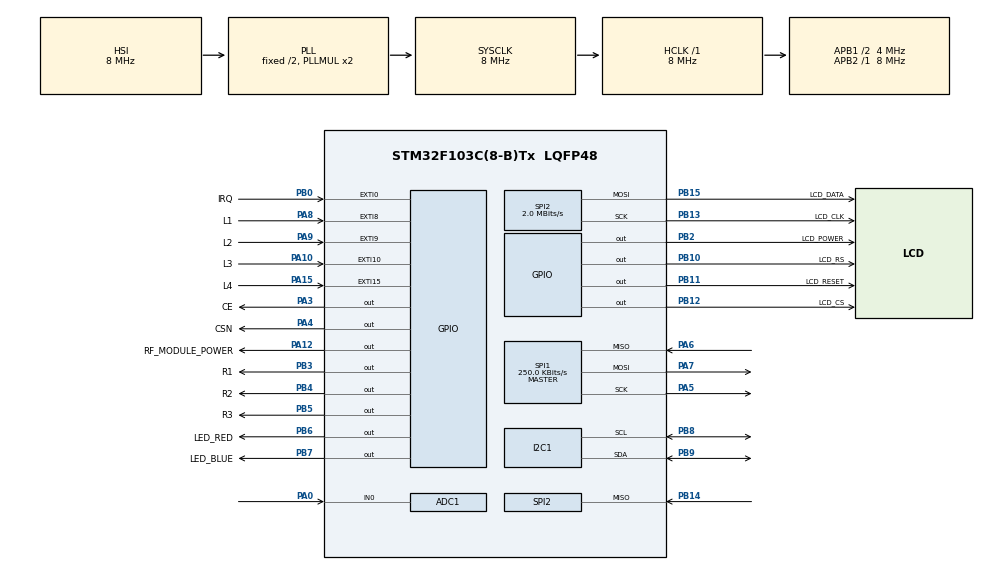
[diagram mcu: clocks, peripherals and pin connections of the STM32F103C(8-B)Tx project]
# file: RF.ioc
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ADC1.Channel-0\#ChannelRegularConversion=ADC_CHANNEL_0
ADC1.ContinuousConvMode=ENABLE
ADC1.ExternalTrigConv=ADC_SOFTWARE_START
ADC1.NbrOfConversionFlag=1
ADC1.Rank-0\#ChannelRegularConversion=1
ADC1.SamplingTime-0\#ChannelRegularConversion=ADC_SAMPLETIME_239CYCLES_5
ADC1.master=1
Mcu.Family=STM32F1
Mcu.Name=STM32F103C(8-B)Tx
Mcu.Package=LQFP48
NVIC.EXTI0_IRQn=true\:0\:0\:false\:false\:true
NVIC.EXTI15_10_IRQn=true\:1\:0\:true\:false\:true
NVIC.EXTI9_5_IRQn=true\:1\:0\:true\:false\:true
NVIC.PriorityGroup=NVIC_PRIORITYGROUP_4
NVIC.TIM1_UP_IRQn=true\:2\:0\:true\:false\:true
PA0-WKUP.Signal=ADCx_IN0
PA10.GPIO_Label=L3
PA10.GPIO_ModeDefaultEXTI=GPIO_MODE_IT_FALLING
PA10.GPIO_PuPd=GPIO_PULLUP
PA10.Signal=GPXTI10
PA12.GPIO_Label=RF_MODULE_POWER
PA12.Signal=GPIO_Output
PA13.Mode=Serial_Wire
PA13.Signal=SYS_JTMS-SWDIO
PA14.Mode=Serial_Wire
PA14.Signal=SYS_JTCK-SWCLK
PA15.GPIO_Label=L4
PA15.GPIO_ModeDefaultEXTI=GPIO_MODE_IT_FALLING
PA15.GPIO_PuPd=GPIO_PULLUP
PA15.Signal=GPXTI15
PA3.GPIO_Label=CE
PA3.Signal=GPIO_Output
PA4.GPIO_Label=CSN
PA4.Signal=GPIO_Output
PA5.Mode=Full_Duplex_Master
PA5.Signal=SPI1_SCK
PA6.Mode=Full_Duplex_Master
PA6.Signal=SPI1_MISO
PA7.Mode=Full_Duplex_Master
PA7.Signal=SPI1_MOSI
PA8.GPIO_Label=L1
PA8.GPIO_ModeDefaultEXTI=GPIO_MODE_IT_FALLING
PA8.GPIO_PuPd=GPIO_PULLUP
PA8.Signal=GPXTI8
PA9.GPIO_Label=L2
PA9.GPIO_ModeDefaultEXTI=GPIO_MODE_IT_FALLING
PA9.GPIO_PuPd=GPIO_PULLUP
PA9.Signal=GPXTI9
PB0.GPIO_Label=IRQ
PB0.GPIO_ModeDefaultEXTI=GPIO_MODE_IT_FALLING
PB0.GPIO_PuPd=GPIO_PULLUP
PB0.Signal=GPXTI0
PB10.GPIO_Label=LCD_RS
PB10.Signal=GPIO_Output
PB11.GPIO_Label=LCD_RESET
PB11.Signal=GPIO_Output
PB12.GPIO_Label=LCD_CS
PB12.Signal=GPIO_Output
PB13.GPIO_Label=LCD_CLK
PB13.Mode=Full_Duplex_Master
PB13.Signal=SPI2_SCK
PB14.Mode=Full_Duplex_Master
PB14.Signal=SPI2_MISO
PB15.GPIO_Label=LCD_DATA
PB15.Mode=Full_Duplex_Master
PB15.Signal=SPI2_MOSI
PB2.GPIO_Label=LCD_POWER
PB2.Signal=GPIO_Output
PB3.GPIO_Label=R1
PB3.GPIO_ModeDefaultOutputPP=GPIO_MODE_OUTPUT_OD
PB3.PinState=GPIO_PIN_RESET
PB3.Signal=GPIO_Output
PB4.GPIO_Label=R2
PB4.GPIO_ModeDefaultOutputPP=GPIO_MODE_OUTPUT_OD
PB4.Signal=GPIO_Output
PB5.GPIO_Label=R3
PB5.GPIO_ModeDefaultOutputPP=GPIO_MODE_OUTPUT_OD
PB5.Signal=GPIO_Output
PB6.GPIO_Label=LED_RED
PB6.Signal=GPIO_Output
PB7.GPIO_Label=LED_BLUE
PB7.Signal=GPIO_Output
PB8.Mode=I2C
PB8.Signal=I2C1_SCL
PB9.Mode=I2C
PB9.Signal=I2C1_SDA
PC14-OSC32_IN.Mode=LSE-External-Oscillator
PC14-OSC32_IN.Signal=RCC_OSC32_IN
PC15-OSC32_OUT.Mode=LSE-External-Oscillator
PC15-OSC32_OUT.Signal=RCC_OSC32_OUT
ProjectManager.HeapSize=0x2000
ProjectManager.StackSize=0x4000
ProjectManager.TargetToolchain=MDK-ARM V5
RCC.ADCPresc=RCC_ADCPCLK2_DIV6
RCC.AHBFreq_Value=8000000
RCC.APB1CLKDivider=RCC_HCLK_DIV2
RCC.APB1Freq_Value=4000000
RCC.APB1TimFreq_Value=8000000
RCC.APB2Freq_Value=8000000
RCC.APB2TimFreq_Value=8000000
RCC.HCLKFreq_Value=8000000
RCC.HSEDivPLL=RCC_HSE_PREDIV_DIV2
RCC.HSE_Timout=100
RCC.HSE_VALUE=16000000
RCC.LSE_Timout=5000
RCC.RTCClockSelection=RCC_RTCCLKSOURCE_LSE
RCC.SYSCLKFreq_VALUE=8000000
RCC.SYSCLKSource=RCC_SYSCLKSOURCE_PLLCLK
RCC.USBFreq_Value=5333333.333333333
RCC.USBPrescaler=RCC_USBCLKSOURCE_PLL_DIV1_5
SH.ADCx_IN0.0=ADC1_IN0,IN0
SPI1.BaudRatePrescaler=SPI_BAUDRATEPRESCALER_32
SPI1.CalculateBaudRate=250.0 KBits/s
SPI1.Mode=SPI_MODE_MASTER
SPI2.BaudRatePrescaler=SPI_BAUDRATEPRESCALER_2
SPI2.CalculateBaudRate=2.0 MBits/s
SPI2.Mode=SPI_MODE_MASTER
TIM1.ClockDivision=TIM_CLOCKDIVISION_DIV1
TIM1.Period=1000
TIM1.Prescaler=7999
TIM1.TIM_MasterOutputTrigger=TIM_TRGO_UPDATE
VP_RTC_VS_RTC_Activate.Mode=RTC_Enabled
VP_TIM1_VS_ClockSourceINT.Mode=Internal
board=RF

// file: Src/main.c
/**
  ******************************************************************************
  * File Name          : main.c
  * Description        : Main program body
  ******************************************************************************
  *
  * COPYRIGHT(c) 2017 STMicroelectronics
  *
  * Redistribution and use in source and binary forms, with or without modification,
  * are permitted provided that the following conditions are met:
  *   1. Redistributions of source code must retain the above copyright notice,
  *      this list of conditions and the following disclaimer.
  *   2. Redistributions in binary form must reproduce the above copyright notice,
  *      this list of conditions and the following disclaimer in the documentation
  *      and/or other materials provided with the distribution.
  *   3. Neither the name of STMicroelectronics nor the names of its contributors
  *      may be used to endorse or promote products derived from this software
  *      without specific prior written permission.
  *
  * THIS SOFTWARE IS PROVIDED BY THE COPYRIGHT HOLDERS AND CONTRIBUTORS "AS IS"
  * AND ANY EXPRESS OR IMPLIED WARRANTIES, INCLUDING, BUT NOT LIMITED TO, THE
  * IMPLIED WARRANTIES OF MERCHANTABILITY AND FITNESS FOR A PARTICULAR PURPOSE ARE
  * DISCLAIMED. IN NO EVENT SHALL THE COPYRIGHT HOLDER OR CONTRIBUTORS BE LIABLE
  * FOR ANY DIRECT, INDIRECT, INCIDENTAL, SPECIAL, EXEMPLARY, OR CONSEQUENTIAL
  * DAMAGES (INCLUDING, BUT NOT LIMITED TO, PROCUREMENT OF SUBSTITUTE GOODS OR
  * SERVICES; LOSS OF USE, DATA, OR PROFITS; OR BUSINESS INTERRUPTION) HOWEVER
  * CAUSED AND ON ANY THEORY OF LIABILITY, WHETHER IN CONTRACT, STRICT LIABILITY,
  * OR TORT (INCLUDING NEGLIGENCE OR OTHERWISE) ARISING IN ANY WAY OUT OF THE USE
  * OF THIS SOFTWARE, EVEN IF ADVISED OF THE POSSIBILITY OF SUCH DAMAGE.
  *
  ******************************************************************************
  */
#include "main.h"
#include "stm32f1xx_hal.h"

/* USER CODE BEGIN Includes */
#include "LPH91572.c"
#include "NRF24L01.c"
#include "Bat1.h"

/* USER CODE END Includes */

ADC_HandleTypeDef hadc1;

I2C_HandleTypeDef hi2c1;

RTC_HandleTypeDef hrtc;

SPI_HandleTypeDef hspi1;
SPI_HandleTypeDef hspi2;

TIM_HandleTypeDef htim1;

/* USER CODE BEGIN PV */
/* Private variables ---------------------------------------------------------*/
uint8_t data;
#define SysFreq 72
#define SYS_FCLK SysFreq
#define HEX2BCD(v)	((v) % 10 + (v) / 10 * 16)
#define BCD2HEX(v)	((v) % 16 + (v) / 16 * 10)
RTC_TimeTypeDef Time;

#define I2C1_DEVICE_ADDRESS 0x50
uint8_t eBuffer[1];

uint16_t InUmV=0;
#define InU_Koef 2.0*3.00*1.0206/4095.0
#define BatteryLevel_1 3000
#define BatteryLevel_2 3400
#define BatteryLevel_3 3700
#define BatteryLevel_4 3900

uint16_t FonColor = BLACK;
uint16_t TextColor = WHITE;

#define PowerDownTime 10
uint8_t PowerDownTimeCounter=0;
bool PowerDown=false;
bool PowerDownNow=false;

char options[8][17]=
{"  Back           ",
 "  Devices        ",
 "  Find devices   ",
 "  Keypad         ",
 "  Power          ",
 "                 ",
 "                 ",
 "                 "};

#define MenuCount 5
uint8_t SelectedMenuPos = 1;
#define MenuShiftY 25

volatile u8 PressedButton=0;

bool SecDotsShow=false;

struct DeviceStruct
{
	int size;
	char Name[28];
};
struct DevicesStruct
{
	u8 Count;
	struct DeviceStruct Device[15];
}Devices;
/* USER CODE END PV */

void SystemClock_Config(void);
void Error_Handler(void);
static void MX_GPIO_Init(void);
static void MX_SPI1_Init(void);
static void MX_ADC1_Init(void);
static void MX_I2C1_Init(void);
static void MX_RTC_Init(void);
static void MX_SPI2_Init(void);
static void MX_TIM1_Init(void);

/* USER CODE BEGIN PFP */
/* Private function prototypes -----------------------------------------------*/

void WriteTime(void);
void EEPROM_Read(uint16_t address,uint8_t *buffer,uint16_t size);
void EEPROM_Write(uint16_t address,uint8_t *buffer,uint16_t size);
void LcdWD(uint8_t  data);
uint8_t spi(uint8_t address);
void delay_us(uint16_t time_);
void soft_delay_ms(uint16_t ms);
uint16_t GetInUmV(void);
void WriteVoltage(void);
void Tick_1s(void);
void Power(void);
void PowerOff(void);
void PowerOn(void);
void InitAll(void);
void ShowSecDots(void);
/* USER CODE END PFP */

/* USER CODE BEGIN 0 */
void LcdWD(uint8_t  data)
{
  //LCD_CS_0
	while ((SPI2->SR &SPI_SR_TXE ) == RESET){}
  SPI2->DR=data;
	//while((SPI2->SR &SPI_SR_BSY)>0);
	//HAL_SPI_Transmit(&hspi2,&data,1,100);
	//LCD_CS_1
}
uint8_t spi(uint8_t address)
{
	HAL_SPI_TransmitReceive(&hspi1, &address, &data, sizeof(data), 0x1000);
	return data;
}
void delay_us(uint16_t time_)
{
	uint32_t time;
	time=time_;
	time*=SYS_FCLK;
	time/=3;
  while(time--);
}
void soft_delay_ms(uint16_t ms)
{
	while(ms--) delay_us(1000);
}
uint16_t GetInUmV(void)
{
	InUmV=(uint16_t)(((float)(hadc1.Instance->DR))*InU_Koef*1000.0);
	return InUmV;
}
void WriteVoltage(void)
{
	int volt,volt2;
  unsigned char volt_string[5];

	volt=GetInUmV();
	delay_us(300);
	volt+=GetInUmV();
	delay_us(300);
	volt+=GetInUmV();
	volt/=3;
	volt2=volt;
/*	if(volt<bad_volt)
	{

	}*/
	volt_string[0]=volt/1000+'0';
	volt%=1000;
	volt_string[1]='.';
	volt_string[2]=volt/100+'0';
	volt%=100;
	volt_string[3]=volt/10+'0';
	volt_string[4]=volt%10+'0';
	LCD_Puts((char*)volt_string,4,10,100,RED,FonColor);
	LCD_Write_Image_RLE_ColorBar(Bat1,sizeof(Bat1),Bat1_ColorBar,0,19,0,11);
	if(volt2<BatteryLevel_4)
	{
		LCD_FillRect(14,3,3,6,FonColor);
	}
	if(volt2<BatteryLevel_3)
	{
		LCD_FillRect(10,3,3,6,FonColor);
	}
	if(volt2<BatteryLevel_2)
	{
		LCD_FillRect(6,3,3,6,FonColor);
	}
	if(volt2<BatteryLevel_1)
	{
		LCD_FillRect(2,3,3,6,FonColor);
	}

}
void Tick_1s(void)
{
	PowerDownTimeCounter++;
	if(PowerDownTimeCounter>=PowerDownTime)
	{
		PowerOff();
	}
	SecDotsShow=!SecDotsShow;
}
void PowerOff(void)
{
	PowerDownTimeCounter=0;
	PowerDown=true;
}
void PowerOn(void)
{
	PowerDownTimeCounter=0;
	PowerDown=false;
}
void Power(void)
{
	GPIO_InitTypeDef GPIO_InitStruct;
	if(PowerDown!=PowerDownNow)
	{
		PowerDownNow=PowerDown;
		if(PowerDown)
		{
			//LCD_Puts("Power off",9,10,70,TextColor,FonColor);
			LCD_off();
			NRF24L01_PowerDown();

			HAL_ADC_Stop_IT(&hadc1);
			HAL_TIM_Base_Stop_IT(&htim1);

			HAL_GPIO_WritePin(LCD_POWER_GPIO_Port,LCD_POWER_Pin,0);
			HAL_GPIO_WritePin(RF_MODULE_POWER_GPIO_Port,RF_MODULE_POWER_Pin,0);

  GPIO_InitStruct.Pin = GPIO_PIN_0|GPIO_PIN_1;
  GPIO_InitStruct.Mode = GPIO_MODE_ANALOG;
  HAL_GPIO_Init(GPIOD, &GPIO_InitStruct);

  GPIO_InitStruct.Pin = GPIO_PIN_1|GPIO_PIN_2|GPIO_PIN_11;
  GPIO_InitStruct.Mode = GPIO_MODE_ANALOG;
  HAL_GPIO_Init(GPIOA, &GPIO_InitStruct);

  GPIO_InitStruct.Pin = CE_Pin|CSN_Pin;
  GPIO_InitStruct.Mode = GPIO_MODE_ANALOG;
  HAL_GPIO_Init(GPIOA, &GPIO_InitStruct);

  //GPIO_InitStruct.Pin = IRQ_Pin;
 // GPIO_InitStruct.Mode = GPIO_MODE_ANALOG;
 // HAL_GPIO_Init(IRQ_GPIO_Port, &GPIO_InitStruct);

  GPIO_InitStruct.Pin = GPIO_PIN_1;
  GPIO_InitStruct.Mode = GPIO_MODE_ANALOG;
  HAL_GPIO_Init(GPIOB, &GPIO_InitStruct);

  GPIO_InitStruct.Pin = LCD_RS_Pin|LCD_RESET_Pin|LCD_CS_Pin
                          |LED_RED_Pin|LED_BLUE_Pin;
  GPIO_InitStruct.Mode = GPIO_MODE_ANALOG;
  HAL_GPIO_Init(GPIOB, &GPIO_InitStruct);

			//__HAL_RCC_HSI_DISABLE();

			HAL_PWR_EnterSTOPMode(PWR_MAINREGULATOR_ON,PWR_SLEEPENTRY_WFI);
			//HAL_PWR_EnterSTANDBYMode();

		Power();
		}
		else
		{
			InitAll();
			LCD_Puts("Power on ",9,10,70,TextColor,FonColor);
		}

	}

}

void WriteMenu(u16 t_color,u16 b_color)
{
	u16 pos=0;
	for(pos=0;pos<MenuCount;pos++)
	 if (SelectedMenuPos==pos)
		    LCD_Puts(options[pos],17,0,pos*16+MenuShiftY,b_color,t_color);
	 else LCD_Puts(options[pos],17,0,pos*16+MenuShiftY,t_color,b_color);

}
void WriteDevicesMenu(u8 dev_id,u16 t_color,u16 b_color)
{
	u8 pos=0,f_pos=0;
	if(dev_id<8) pos=f_pos=0;
	else pos=f_pos=dev_id-7;
	for(;(pos<Devices.Count) && (pos < f_pos+8);pos++)
	{
	 if(pos==dev_id)
	 {
		    LCD_Putchar(('0'+dev_id/10),0,pos*16+MenuShiftY,b_color,t_color);
		    LCD_Putchar(('0'+dev_id%10),8,pos*16+MenuShiftY,b_color,t_color);
		    LCD_Puts(Devices.Device[pos].Name,14,24,pos*16+MenuShiftY,b_color,t_color);
	 }
	 else
	 {
		    LCD_Putchar(('0'+dev_id/10),0,pos*16+MenuShiftY,t_color,b_color);
		    LCD_Putchar(('0'+dev_id%10),8,pos*16+MenuShiftY,t_color,b_color);
		    LCD_Puts(Devices.Device[pos].Name,14,24,pos*16+MenuShiftY,t_color,b_color);
	 }
	}
}
void DevicesMenu(u16 t_color,u16 b_color)
{
	PressedButton=0;
	LCD_FillScreen(b_color);
	u8 dev_id=0;
	WriteDevicesMenu(dev_id,t_color,b_color);
	while(PressedButton==10)
	{

	}
	PressedButton=0;
	LCD_FillScreen(b_color);
}
void Menu(u16 t_color,u16 b_color)
{
	PressedButton=0;
   LCD_FillScreen(b_color);
	while(!(SelectedMenuPos==0 && PressedButton==5))
	{

		if(PressedButton==2)
		{
			if(SelectedMenuPos>0)SelectedMenuPos--;
		  else SelectedMenuPos=MenuCount-1;
		}
    else if(PressedButton==8)
		{
      if(SelectedMenuPos<(MenuCount-1))SelectedMenuPos++;
			else SelectedMenuPos=0;
		}
		else if(PressedButton==5)
		 {
			switch (SelectedMenuPos)
			                                                                                                                                                                            {
				case 1:
					DevicesMenu(t_color,b_color);
					break;
				case 2:
					break;
				case 3:
					break;
				case 4:
					break;
				case 5:
				  break;
				default:
					break;
			}
		}

		WriteMenu(t_color,b_color);

		PressedButton=0;
		while(PressedButton==0)
		{
			//Power();
		}

	}
	PressedButton=0;
	LCD_FillScreen(b_color);
}
void InitAll(void)
{
	 HAL_Init();
   SystemClock_Config();

	 MX_GPIO_Init();
  MX_SPI1_Init();
  MX_ADC1_Init();
  MX_I2C1_Init();
  MX_RTC_Init();
  MX_SPI2_Init();
  MX_TIM1_Init();

	 __HAL_SPI_ENABLE(&hspi2);
	 HAL_ADC_Start(&hadc1);
	 HAL_TIM_Base_Start_IT(&htim1);

	 //MX_GPIO_Init();
	 HAL_GPIO_WritePin(LCD_POWER_GPIO_Port,LCD_POWER_Pin,GPIO_PIN_SET);
	 HAL_GPIO_WritePin(RF_MODULE_POWER_GPIO_Port,RF_MODULE_POWER_Pin,GPIO_PIN_SET);
	 soft_delay_ms(10);
	 LCD_init();
	 LCD_FillScreen(FonColor);
   NRF24L01_init();

}
/* USER CODE END 0 */

int main(void)
{

  /* MCU Configuration----------------------------------------------------------*/

  /* Reset of all peripherals, Initializes the Flash interface and the Systick. */
 // HAL_Init();

  /* Configure the system clock */
 // SystemClock_Config();

  /* Initialize all configured peripherals */
/*  MX_GPIO_Init();
  MX_SPI1_Init();
  MX_ADC1_Init();
  MX_I2C1_Init();
  MX_RTC_Init();
  MX_SPI2_Init();
  MX_TIM1_Init();*/

  /* USER CODE BEGIN 2 */
/*	 __HAL_SPI_ENABLE(&hspi2);
	 HAL_ADC_Start(&hadc1);
	 HAL_TIM_Base_Start_IT(&htim1);*/

	// HAL_Delay(500);
   InitAll();

  //HAL_Delay(3000);
	//PowerOff();
	//Power();
  /* USER CODE END 2 */

  /* Infinite loop */
  while (1)
  {

  /* USER CODE BEGIN 3 */

	//eBuffer[0]='A';

	// EEPROM_Write(0x00,eBuffer,1);
	//HAL_Delay(100);
//	eBuffer[0]='B';
	// EEPROM_Read(0x00,eBuffer,1);

	// LCD_Putchar(eBuffer[0],10,10,RED,BLACK);

	 HAL_Delay(100);
	 WriteTime();
	 WriteVoltage();
	 Power();
		if(PressedButton==10)
		{
			Menu(WHITE,BLACK);
		}
  }
  /* USER CODE END 3 */

}

/** System Clock Configuration
*/
void SystemClock_Config(void)
{

  RCC_OscInitTypeDef RCC_OscInitStruct;
  RCC_ClkInitTypeDef RCC_ClkInitStruct;
  RCC_PeriphCLKInitTypeDef PeriphClkInit;

    /**Initializes the CPU, AHB and APB busses clocks
    */
  RCC_OscInitStruct.OscillatorType = RCC_OSCILLATORTYPE_HSI|RCC_OSCILLATORTYPE_LSE;
  RCC_OscInitStruct.LSEState = RCC_LSE_ON;
  RCC_OscInitStruct.HSIState = RCC_HSI_ON;
  RCC_OscInitStruct.HSICalibrationValue = 16;
  RCC_OscInitStruct.PLL.PLLState = RCC_PLL_ON;
  RCC_OscInitStruct.PLL.PLLSource = RCC_PLLSOURCE_HSI_DIV2;
  RCC_OscInitStruct.PLL.PLLMUL = RCC_PLL_MUL2;
  if (HAL_RCC_OscConfig(&RCC_OscInitStruct) != HAL_OK)
  {
    Error_Handler();
  }

    /**Initializes the CPU, AHB and APB busses clocks
    */
  RCC_ClkInitStruct.ClockType = RCC_CLOCKTYPE_HCLK|RCC_CLOCKTYPE_SYSCLK
                              |RCC_CLOCKTYPE_PCLK1|RCC_CLOCKTYPE_PCLK2;
  RCC_ClkInitStruct.SYSCLKSource = RCC_SYSCLKSOURCE_PLLCLK;
  RCC_ClkInitStruct.AHBCLKDivider = RCC_SYSCLK_DIV1;
  RCC_ClkInitStruct.APB1CLKDivider = RCC_HCLK_DIV2;
  RCC_ClkInitStruct.APB2CLKDivider = RCC_HCLK_DIV1;

  if (HAL_RCC_ClockConfig(&RCC_ClkInitStruct, FLASH_LATENCY_0) != HAL_OK)
  {
    Error_Handler();
  }

  PeriphClkInit.PeriphClockSelection = RCC_PERIPHCLK_RTC|RCC_PERIPHCLK_ADC;
  PeriphClkInit.RTCClockSelection = RCC_RTCCLKSOURCE_LSE;
  PeriphClkInit.AdcClockSelection = RCC_ADCPCLK2_DIV6;
  if (HAL_RCCEx_PeriphCLKConfig(&PeriphClkInit) != HAL_OK)
  {
    Error_Handler();
  }

    /**Configure the Systick interrupt time
    */
  HAL_SYSTICK_Config(HAL_RCC_GetHCLKFreq()/1000);

    /**Configure the Systick
    */
  HAL_SYSTICK_CLKSourceConfig(SYSTICK_CLKSOURCE_HCLK);

  /* SysTick_IRQn interrupt configuration */
  HAL_NVIC_SetPriority(SysTick_IRQn, 0, 0);
}

/* ADC1 init function */
static void MX_ADC1_Init(void)
{

  ADC_ChannelConfTypeDef sConfig;

    /**Common config
    */
  hadc1.Instance = ADC1;
  hadc1.Init.ScanConvMode = ADC_SCAN_DISABLE;
  hadc1.Init.ContinuousConvMode = ENABLE;
  hadc1.Init.DiscontinuousConvMode = DISABLE;
  hadc1.Init.ExternalTrigConv = ADC_SOFTWARE_START;
  hadc1.Init.DataAlign = ADC_DATAALIGN_RIGHT;
  hadc1.Init.NbrOfConversion = 1;
  if (HAL_ADC_Init(&hadc1) != HAL_OK)
  {
    Error_Handler();
  }

    /**Configure Regular Channel
    */
  sConfig.Channel = ADC_CHANNEL_0;
  sConfig.Rank = 1;
  sConfig.SamplingTime = ADC_SAMPLETIME_239CYCLES_5;
  if (HAL_ADC_ConfigChannel(&hadc1, &sConfig) != HAL_OK)
  {
    Error_Handler();
  }

}

/* I2C1 init function */
static void MX_I2C1_Init(void)
{

  hi2c1.Instance = I2C1;
  hi2c1.Init.ClockSpeed = 100000;
  hi2c1.Init.DutyCycle = I2C_DUTYCYCLE_2;
  hi2c1.Init.OwnAddress1 = 0;
  hi2c1.Init.AddressingMode = I2C_ADDRESSINGMODE_7BIT;
  hi2c1.Init.DualAddressMode = I2C_DUALADDRESS_DISABLE;
  hi2c1.Init.OwnAddress2 = 0;
  hi2c1.Init.GeneralCallMode = I2C_GENERALCALL_DISABLE;
  hi2c1.Init.NoStretchMode = I2C_NOSTRETCH_DISABLE;
  if (HAL_I2C_Init(&hi2c1) != HAL_OK)
  {
    Error_Handler();
  }

}

/* RTC init function */
static void MX_RTC_Init(void)
{

    /**Initialize RTC Only
    */
  hrtc.Instance = RTC;
  hrtc.Init.AsynchPrediv = RTC_AUTO_1_SECOND;
  hrtc.Init.OutPut = RTC_OUTPUTSOURCE_ALARM;
  if (HAL_RTC_Init(&hrtc) != HAL_OK)
  {
    Error_Handler();
  }

}

/* SPI1 init function */
static void MX_SPI1_Init(void)
{

  hspi1.Instance = SPI1;
  hspi1.Init.Mode = SPI_MODE_MASTER;
  hspi1.Init.Direction = SPI_DIRECTION_2LINES;
  hspi1.Init.DataSize = SPI_DATASIZE_8BIT;
  hspi1.Init.CLKPolarity = SPI_POLARITY_LOW;
  hspi1.Init.CLKPhase = SPI_PHASE_1EDGE;
  hspi1.Init.NSS = SPI_NSS_SOFT;
  hspi1.Init.BaudRatePrescaler = SPI_BAUDRATEPRESCALER_32;
  hspi1.Init.FirstBit = SPI_FIRSTBIT_MSB;
  hspi1.Init.TIMode = SPI_TIMODE_DISABLE;
  hspi1.Init.CRCCalculation = SPI_CRCCALCULATION_DISABLE;
  hspi1.Init.CRCPolynomial = 10;
  if (HAL_SPI_Init(&hspi1) != HAL_OK)
  {
    Error_Handler();
  }

}

/* SPI2 init function */
static void MX_SPI2_Init(void)
{

  hspi2.Instance = SPI2;
  hspi2.Init.Mode = SPI_MODE_MASTER;
  hspi2.Init.Direction = SPI_DIRECTION_2LINES;
  hspi2.Init.DataSize = SPI_DATASIZE_8BIT;
  hspi2.Init.CLKPolarity = SPI_POLARITY_LOW;
  hspi2.Init.CLKPhase = SPI_PHASE_1EDGE;
  hspi2.Init.NSS = SPI_NSS_SOFT;
  hspi2.Init.BaudRatePrescaler = SPI_BAUDRATEPRESCALER_2;
  hspi2.Init.FirstBit = SPI_FIRSTBIT_MSB;
  hspi2.Init.TIMode = SPI_TIMODE_DISABLE;
  hspi2.Init.CRCCalculation = SPI_CRCCALCULATION_DISABLE;
  hspi2.Init.CRCPolynomial = 10;
  if (HAL_SPI_Init(&hspi2) != HAL_OK)
  {
    Error_Handler();
  }

}

/* TIM1 init function */
static void MX_TIM1_Init(void)
{

  TIM_ClockConfigTypeDef sClockSourceConfig;
  TIM_MasterConfigTypeDef sMasterConfig;

  htim1.Instance = TIM1;
  htim1.Init.Prescaler = 7999;
  htim1.Init.CounterMode = TIM_COUNTERMODE_UP;
  htim1.Init.Period = 1000;
  htim1.Init.ClockDivision = TIM_CLOCKDIVISION_DIV1;
  htim1.Init.RepetitionCounter = 0;
  if (HAL_TIM_Base_Init(&htim1) != HAL_OK)
  {
    Error_Handler();
  }

  sClockSourceConfig.ClockSource = TIM_CLOCKSOURCE_INTERNAL;
  if (HAL_TIM_ConfigClockSource(&htim1, &sClockSourceConfig) != HAL_OK)
  {
    Error_Handler();
  }

  sMasterConfig.MasterOutputTrigger = TIM_TRGO_UPDATE;
  sMasterConfig.MasterSlaveMode = TIM_MASTERSLAVEMODE_DISABLE;
  if (HAL_TIMEx_MasterConfigSynchronization(&htim1, &sMasterConfig) != HAL_OK)
  {
    Error_Handler();
  }

}

/** Configure pins as
        * Analog
        * Input
        * Output
        * EVENT_OUT
        * EXTI
        * Free pins are configured automatically as Analog (this feature is enabled through
        * the Code Generation settings)
*/
static void MX_GPIO_Init(void)
{

  GPIO_InitTypeDef GPIO_InitStruct;

  /* GPIO Ports Clock Enable */
  __HAL_RCC_GPIOC_CLK_ENABLE();
  __HAL_RCC_GPIOD_CLK_ENABLE();
  __HAL_RCC_GPIOA_CLK_ENABLE();
  __HAL_RCC_GPIOB_CLK_ENABLE();

  /*Configure GPIO pin Output Level */
  HAL_GPIO_WritePin(GPIOA, CE_Pin|CSN_Pin|RF_MODULE_POWER_Pin, GPIO_PIN_RESET);

  /*Configure GPIO pin Output Level */
  HAL_GPIO_WritePin(GPIOB, LCD_POWER_Pin|LCD_RS_Pin|LCD_RESET_Pin|LCD_CS_Pin
                          |R1_Pin|R2_Pin|R3_Pin|LED_RED_Pin
                          |LED_BLUE_Pin, GPIO_PIN_RESET);

  /*Configure GPIO pin : PC13 */
  GPIO_InitStruct.Pin = GPIO_PIN_13;
  GPIO_InitStruct.Mode = GPIO_MODE_ANALOG;
  HAL_GPIO_Init(GPIOC, &GPIO_InitStruct);

  /*Configure GPIO pins : PD0 PD1 */
  GPIO_InitStruct.Pin = GPIO_PIN_0|GPIO_PIN_1;
  GPIO_InitStruct.Mode = GPIO_MODE_ANALOG;
  HAL_GPIO_Init(GPIOD, &GPIO_InitStruct);

  /*Configure GPIO pins : PA1 PA2 PA11 */
  GPIO_InitStruct.Pin = GPIO_PIN_1|GPIO_PIN_2|GPIO_PIN_11;
  GPIO_InitStruct.Mode = GPIO_MODE_ANALOG;
  HAL_GPIO_Init(GPIOA, &GPIO_InitStruct);

  /*Configure GPIO pins : CE_Pin CSN_Pin RF_MODULE_POWER_Pin */
  GPIO_InitStruct.Pin = CE_Pin|CSN_Pin|RF_MODULE_POWER_Pin;
  GPIO_InitStruct.Mode = GPIO_MODE_OUTPUT_PP;
  GPIO_InitStruct.Speed = GPIO_SPEED_FREQ_LOW;
  HAL_GPIO_Init(GPIOA, &GPIO_InitStruct);

  /*Configure GPIO pin : IRQ_Pin */
  GPIO_InitStruct.Pin = IRQ_Pin;
  GPIO_InitStruct.Mode = GPIO_MODE_IT_FALLING;
  GPIO_InitStruct.Pull = GPIO_PULLUP;
  HAL_GPIO_Init(IRQ_GPIO_Port, &GPIO_InitStruct);

  /*Configure GPIO pin : PB1 */
  GPIO_InitStruct.Pin = GPIO_PIN_1;
  GPIO_InitStruct.Mode = GPIO_MODE_ANALOG;
  HAL_GPIO_Init(GPIOB, &GPIO_InitStruct);

  /*Configure GPIO pins : LCD_POWER_Pin LCD_RS_Pin LCD_RESET_Pin LCD_CS_Pin
                           LED_RED_Pin LED_BLUE_Pin */
  GPIO_InitStruct.Pin = LCD_POWER_Pin|LCD_RS_Pin|LCD_RESET_Pin|LCD_CS_Pin
                          |LED_RED_Pin|LED_BLUE_Pin;
  GPIO_InitStruct.Mode = GPIO_MODE_OUTPUT_PP;
  GPIO_InitStruct.Speed = GPIO_SPEED_FREQ_LOW;
  HAL_GPIO_Init(GPIOB, &GPIO_InitStruct);

  /*Configure GPIO pins : L1_Pin L2_Pin L3_Pin L4_Pin */
  GPIO_InitStruct.Pin = L1_Pin|L2_Pin|L3_Pin|L4_Pin;
  GPIO_InitStruct.Mode = GPIO_MODE_IT_FALLING;
  GPIO_InitStruct.Pull = GPIO_PULLUP;
  HAL_GPIO_Init(GPIOA, &GPIO_InitStruct);

  /*Configure GPIO pins : R1_Pin R2_Pin R3_Pin */
  GPIO_InitStruct.Pin = R1_Pin|R2_Pin|R3_Pin;
  GPIO_InitStruct.Mode = GPIO_MODE_OUTPUT_OD;
  GPIO_InitStruct.Speed = GPIO_SPEED_FREQ_LOW;
  HAL_GPIO_Init(GPIOB, &GPIO_InitStruct);

  /*Configure peripheral I/O remapping */
  __HAL_AFIO_REMAP_PD01_ENABLE();

  /* EXTI interrupt init*/
  HAL_NVIC_SetPriority(EXTI0_IRQn, 0, 0);
  HAL_NVIC_EnableIRQ(EXTI0_IRQn);

  HAL_NVIC_SetPriority(EXTI9_5_IRQn, 1, 0);
  HAL_NVIC_EnableIRQ(EXTI9_5_IRQn);

  HAL_NVIC_SetPriority(EXTI15_10_IRQn, 1, 0);
  HAL_NVIC_EnableIRQ(EXTI15_10_IRQn);

}

/* USER CODE BEGIN 4 */
void KeyPresed(uint8_t key)
{
	uint8_t msg[3];
	msg[0]=('0'+(char)(key/10));
	msg[1]=('0'+(char)(key%10));
	msg[2]=',';
	send_data(msg,3);
}
uint8_t KeyPadRead(void)
{
	uint8_t key=0;
	PowerDownTimeCounter=0;
	if(PowerDown)
	{
		PowerOn();
	}
	HAL_GPIO_WritePin(R1_GPIO_Port,R1_Pin,GPIO_PIN_RESET);
	HAL_GPIO_WritePin(R2_GPIO_Port,R2_Pin,GPIO_PIN_SET);
	HAL_GPIO_WritePin(R3_GPIO_Port,R3_Pin,GPIO_PIN_SET);
	delay_us(10);
	if(HAL_GPIO_ReadPin(L1_GPIO_Port,L1_Pin)==0) key=1;
	if(HAL_GPIO_ReadPin(L2_GPIO_Port,L2_Pin)==0) key=4;
	if(HAL_GPIO_ReadPin(L2_GPIO_Port,L3_Pin)==0) key=7;
	if(HAL_GPIO_ReadPin(L4_GPIO_Port,L4_Pin)==0) key=10;
	HAL_GPIO_WritePin(R1_GPIO_Port,R1_Pin,GPIO_PIN_SET);
	HAL_GPIO_WritePin(R2_GPIO_Port,R2_Pin,GPIO_PIN_RESET);
	HAL_GPIO_WritePin(R3_GPIO_Port,R3_Pin,GPIO_PIN_SET);
	delay_us(10);
	if(HAL_GPIO_ReadPin(L1_GPIO_Port,L1_Pin)==0) key=2;
	if(HAL_GPIO_ReadPin(L2_GPIO_Port,L2_Pin)==0) key=5;
	if(HAL_GPIO_ReadPin(L2_GPIO_Port,L3_Pin)==0) key=8;
	if(HAL_GPIO_ReadPin(L4_GPIO_Port,L4_Pin)==0) key=11;
	HAL_GPIO_WritePin(R1_GPIO_Port,R1_Pin,GPIO_PIN_SET);
	HAL_GPIO_WritePin(R2_GPIO_Port,R2_Pin,GPIO_PIN_SET);
	HAL_GPIO_WritePin(R3_GPIO_Port,R3_Pin,GPIO_PIN_RESET);
	delay_us(10);
	if(HAL_GPIO_ReadPin(L1_GPIO_Port,L1_Pin)==0) key=3;
	if(HAL_GPIO_ReadPin(L2_GPIO_Port,L2_Pin)==0) key=6;
	if(HAL_GPIO_ReadPin(L2_GPIO_Port,L3_Pin)==0) key=9;
	if(HAL_GPIO_ReadPin(L4_GPIO_Port,L4_Pin)==0) key=12;
	HAL_GPIO_WritePin(R1_GPIO_Port,R1_Pin,GPIO_PIN_SET);
	HAL_GPIO_WritePin(R2_GPIO_Port,R2_Pin,GPIO_PIN_SET);
	HAL_GPIO_WritePin(R3_GPIO_Port,R3_Pin,GPIO_PIN_SET);
	delay_us(10);
	if(key!=0)
	{
	//LCD_Putchar(('0'+(char)(key/10)),0,0,RED,GREEN);
	//LCD_Putchar(('0'+(char)(key%10)),8,0,RED,GREEN);
		//KeyPresed(key);
		soft_delay_ms(10);
		PressedButton=key;
	}
	return key;
}

void NRF24L01_IRQ(void)
{/*
	state=read_irq();
	if(state&0x40)
	{
		i=read_rx(buffer);
		ReadPackage(buffer);
		PackageReceived=true;
		clr_irq();
		TimeOutTimer=0;
	}
	if(state&0x10)
	{
		if(TransmitRepeats==3)
		{
		ConnectError=true;
		TransmitRepeats=0;
		clr_irq();
		NRF24L01_power_down();
		}
		else
		{
			TransmitRepeats++;
			csn_0
      spi(FLUSH_TX);
      csn_1
		}
	}
	if(state & 0x1)
	{
		csn_0
		spi(FLUSH_TX);
		csn_1
	}
	if(state & 0x20)
	{
		NRF24L01_Transmit=false;
		TransmitRepeats=0;
		clr_irq();
	//	if(NRF24L01_POWER) rx_mode();
	}*/
  clr_irq();
}
void ReadTime(unsigned char *time)
{
	HAL_RTC_GetTime(&hrtc,&Time,RTC_FORMAT_BCD);
	time[0]=BCD2HEX(Time.Hours);
	time[1]=BCD2HEX(Time.Minutes);
}
void WriteTime(void)
{ unsigned char time[2];
  unsigned char time_string[5];

	  ReadTime(time);
		time_string[0]='0'+((time[0]/10) %10);
	  time_string[1]='0'+(time[0] %10);
	  time_string[2]=':';
		time_string[3]='0'+((time[1]/10) %10);
	  time_string[4]='0'+(time[1] %10);

	  LCD_Put24(time_string[0],3+0,20,WHITE,BLACK);
	  LCD_Put24(time_string[1],6+24,20,WHITE,BLACK);

	  LCD_Put24(time_string[3],6+72,20,WHITE,BLACK);
	  LCD_Put24(time_string[4],9+96,20,WHITE,BLACK);

	  ShowSecDots();
}
void ShowSecDots(void)
{
	if(SecDotsShow)
	{
		LCD_Put24(':',6+48,20,WHITE,BLACK);
	}
	else
	{
		LCD_Put24(' ',6+48,20,WHITE,BLACK);
	}

}
void EEPROM_Read(uint16_t address,uint8_t *buffer,uint16_t size)
{
	HAL_I2C_Mem_Read (&hi2c1, (uint16_t) I2C1_DEVICE_ADDRESS << 1, address, 1, buffer, size, 10);
}
void EEPROM_Write(uint16_t address,uint8_t *buffer,uint16_t size)
{
	HAL_I2C_Mem_Write(&hi2c1, (uint16_t) I2C1_DEVICE_ADDRESS << 1, address, 1, buffer, size, 10);
}
/* USER CODE END 4 */

void Error_Handler(void)
{
  while(1)
  {
  }
}

/************************ (C) COPYRIGHT STMicroelectronics *****END OF FILE****/
